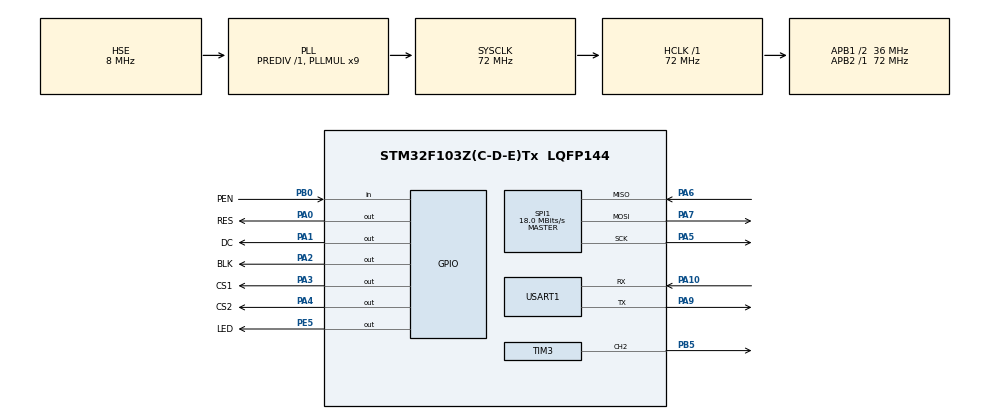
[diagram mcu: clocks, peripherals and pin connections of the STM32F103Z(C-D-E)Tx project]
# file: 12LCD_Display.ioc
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Mcu.Family=STM32F1
Mcu.Name=STM32F103Z(C-D-E)Tx
Mcu.Package=LQFP144
NVIC.PriorityGroup=NVIC_PRIORITYGROUP_4
NVIC.TIM6_IRQn=true\:0\:0\:false\:false\:true\:true\:true\:true
OSC_IN.Mode=HSE-External-Oscillator
OSC_IN.Signal=RCC_OSC_IN
OSC_OUT.Mode=HSE-External-Oscillator
OSC_OUT.Signal=RCC_OSC_OUT
PA0-WKUP.GPIO_Label=RES
PA0-WKUP.GPIO_PuPd=GPIO_PULLUP
PA0-WKUP.PinState=GPIO_PIN_SET
PA0-WKUP.Signal=GPIO_Output
PA1.GPIO_Label=DC
PA1.GPIO_PuPd=GPIO_PULLUP
PA1.PinState=GPIO_PIN_SET
PA1.Signal=GPIO_Output
PA10.Mode=Asynchronous
PA10.Signal=USART1_RX
PA13.Mode=Serial_Wire
PA13.Signal=SYS_JTMS-SWDIO
PA14.Mode=Serial_Wire
PA14.Signal=SYS_JTCK-SWCLK
PA2.GPIO_Label=BLK
PA2.GPIO_PuPd=GPIO_PULLUP
PA2.PinState=GPIO_PIN_SET
PA2.Signal=GPIO_Output
PA3.GPIO_Label=CS1
PA3.GPIO_PuPd=GPIO_PULLUP
PA3.PinState=GPIO_PIN_SET
PA3.Signal=GPIO_Output
PA4.GPIO_Label=CS2
PA4.GPIO_PuPd=GPIO_PULLUP
PA4.PinState=GPIO_PIN_SET
PA4.Signal=GPIO_Output
PA5.Mode=Full_Duplex_Master
PA5.Signal=SPI1_SCK
PA6.Mode=Full_Duplex_Master
PA6.Signal=SPI1_MISO
PA7.Mode=Full_Duplex_Master
PA7.Signal=SPI1_MOSI
PA9.Mode=Asynchronous
PA9.Signal=USART1_TX
PB0.GPIO_Label=PEN
PB0.GPIO_PuPd=GPIO_PULLUP
PB0.Signal=GPIO_Input
PB5.Signal=S_TIM3_CH2
PC14-OSC32_IN.Mode=LSE-External-Oscillator
PC14-OSC32_IN.Signal=RCC_OSC32_IN
PC15-OSC32_OUT.Mode=LSE-External-Oscillator
PC15-OSC32_OUT.Signal=RCC_OSC32_OUT
PE5.GPIO_Label=LED
PE5.GPIO_PuPd=GPIO_PULLUP
PE5.PinState=GPIO_PIN_SET
PE5.Signal=GPIO_Output
ProjectManager.HeapSize=0x200
ProjectManager.StackSize=0x700
ProjectManager.TargetToolchain=MDK-ARM V5.32
RCC.AHBFreq_Value=72000000
RCC.APB1CLKDivider=RCC_HCLK_DIV2
RCC.APB1Freq_Value=36000000
RCC.APB1TimFreq_Value=72000000
RCC.APB2Freq_Value=72000000
RCC.APB2TimFreq_Value=72000000
RCC.HCLKFreq_Value=72000000
RCC.PLLMUL=RCC_PLL_MUL9
RCC.PLLSourceVirtual=RCC_PLLSOURCE_HSE
RCC.RTCClockSelection=RCC_RTCCLKSOURCE_LSE
RCC.SYSCLKFreq_VALUE=72000000
RCC.SYSCLKSource=RCC_SYSCLKSOURCE_PLLCLK
RCC.USBFreq_Value=72000000
RTC.Date=22
RTC.Format=RTC_FORMAT_BIN
RTC.Hours=14
RTC.Minutes=22
RTC.Month=RTC_MONTH_MARCH
RTC.Seconds=16
RTC.Year=25
SH.S_TIM3_CH2.0=TIM3_CH2,PWM Generation2 CH2
SPI1.BaudRatePrescaler=SPI_BAUDRATEPRESCALER_4
SPI1.CalculateBaudRate=18.0 MBits/s
SPI1.Direction=SPI_DIRECTION_2LINES
SPI1.Mode=SPI_MODE_MASTER
SPI1.VirtualType=VM_MASTER
TIM1.Prescaler=72-1
TIM3.AutoReloadPreload=TIM_AUTORELOAD_PRELOAD_ENABLE
TIM3.Channel-PWM\ Generation2\ CH2=TIM_CHANNEL_2
TIM3.Period=100-1
TIM3.Prescaler=7200-1
TIM6.AutoReloadPreload=TIM_AUTORELOAD_PRELOAD_ENABLE
TIM6.Period=999
TIM6.Prescaler=71
USART1.VirtualMode=VM_ASYNC
VP_RTC_VS_RTC_Activate.Mode=RTC_Enabled
VP_RTC_VS_RTC_Calendar.Mode=RTC_Calendar
VP_TIM1_VS_ClockSourceINT.Mode=Internal
VP_TIM3_VS_ClockSourceINT.Mode=Internal
VP_TIM6_VS_ClockSourceINT.Mode=Enable_Timer
board=custom

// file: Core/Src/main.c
/* USER CODE BEGIN Header */
/**
  ******************************************************************************
  * @file           : main.c
  * @brief          : Main program body
  ******************************************************************************
  * @attention
  *
  * Copyright (c) 2024 STMicroelectronics.
  * All rights reserved.
  *
  * This software is licensed under terms that can be found in the LICENSE file
  * in the root directory of this software component.
  * If no LICENSE file comes with this software, it is provided AS-IS.
  *
  ******************************************************************************
  */
/* USER CODE END Header */
#include "main.h"
#include "rtc.h"
#include "spi.h"
#include "tim.h"
#include "usart.h"
#include "gpio.h"

/* USER CODE BEGIN Includes */
#include "lcd_init.h"
#include "lcd.h"
#include "pic.h"
#include "touch.h"
#include "lvgl.h"
#include "lv_port_disp_template.h"
#include "lv_port_indev_template.h"
#include "lv_demo_stress.h"
#include "lv_demo_widgets.h"
#include "ui.h"
#include "dht11.h"
#include <stdio.h>
/* USER CODE END Includes */

/* USER CODE BEGIN PD */
#define COLOR_RED   0xff,0x0,0x0
#define COLOR_WHITE   0xff,0xff,0xff
#define COLOR_YELLOW   0xff,0xff,0x0
/* USER CODE END PD */

/* USER CODE BEGIN PV */
lv_color_t color_value;
uint32_t time_count = 0;
uint32_t needle_angle = 0;
RTC_TimeTypeDef struct_rtc_time;
RTC_DateTypeDef struct_rtc_date;
uint8_t time_buff[15] = {0};
uint8_t date_buff[15] = {0};
uint32_t timetick = 0;
uint32_t lvtick = 0;
/* USER CODE END PV */

void SystemClock_Config(void);

int main(void)
{

  /* MCU Configuration--------------------------------------------------------*/

  /* Reset of all peripherals, Initializes the Flash interface and the Systick. */
  HAL_Init();

  /* Configure the system clock */
  SystemClock_Config();

  /* Initialize all configured peripherals */
  MX_GPIO_Init();
  MX_SPI1_Init();
  MX_USART1_UART_Init();
  MX_TIM6_Init();
  MX_TIM3_Init();
  MX_TIM1_Init();
  MX_RTC_Init();
  /* USER CODE BEGIN 2 */
	HAL_TIM_Base_Start_IT(&htim6);
	HAL_TIM_PWM_Start(&htim3, TIM_CHANNEL_2);
	lv_init();
	lv_port_disp_init();
	lv_port_indev_init();
	//lv_demo_widgets();
	ui_init();
	//lv_demo_stress();

  /* USER CODE END 2 */

  /* Infinite loop */
  /* USER CODE BEGIN WHILE */
  while (1)
  {

		if(HAL_GetTick() - lvtick > 5)
		{
			lvtick = HAL_GetTick();
			lv_timer_handler();
			time_count++;
			time_count = time_count %400;
		}

		if(1 == time_count)
		{
			color_value = lv_color_make(COLOR_RED);
			lv_obj_set_style_img_recolor(ui_ImageLight, color_value, 0);
			lv_obj_set_style_img_recolor_opa(ui_ImageLight, 255, 0);

			lv_obj_set_style_img_recolor(ui_ImageTurnlight, color_value, 0);
			lv_obj_set_style_img_recolor_opa(ui_ImageTurnlight, 255, 0);

			lv_obj_set_style_img_recolor(ui_ImageWatertemp, color_value, 0);
			lv_obj_set_style_img_recolor_opa(ui_ImageWatertemp, 255, 0);

			lv_obj_set_style_img_recolor(ui_ImageSfatyBelt, color_value, 0);
			lv_obj_set_style_img_recolor_opa(ui_ImageSfatyBelt, 255, 0);

		}
		if(201 == time_count)
		{
			color_value = lv_color_make(COLOR_WHITE);
			lv_obj_set_style_img_recolor(ui_ImageLight, color_value, 0);
			lv_obj_set_style_img_recolor_opa(ui_ImageLight, 255, 0);

			lv_obj_set_style_img_recolor(ui_ImageTurnlight, color_value, 0);
			lv_obj_set_style_img_recolor_opa(ui_ImageTurnlight, 255, 0);

			lv_obj_set_style_img_recolor(ui_ImageWatertemp, color_value, 0);
			lv_obj_set_style_img_recolor_opa(ui_ImageWatertemp, 255, 0);

			lv_obj_set_style_img_recolor(ui_ImageSfatyBelt, color_value, 0);
			lv_obj_set_style_img_recolor_opa(ui_ImageSfatyBelt, 255, 0);
		}

		if(HAL_GetTick() - timetick >500)
		{
			timetick = HAL_GetTick();

			needle_angle = needle_angle + 10;
			needle_angle = needle_angle%250;
			lv_img_set_angle(ui_ImageNeedle, needle_angle*10);

			HAL_RTC_GetTime(&hrtc, &struct_rtc_time, RTC_FORMAT_BIN);
			sprintf((char *)(time_buff),"%2u:%2u:%2u", struct_rtc_time.Hours, struct_rtc_time.Minutes, struct_rtc_time.Seconds);
			lv_label_set_text(ui_LabelTime, (char *)time_buff);

			HAL_RTC_GetDate(&hrtc, &struct_rtc_date, RTC_FORMAT_BIN);
			sprintf((char *)date_buff,"20%2u-%2u-%2u", struct_rtc_date.Year, struct_rtc_date.Month, struct_rtc_date.Date);
			lv_label_set_text(ui_LabelDate, (char *)date_buff);
		}

    /* USER CODE END WHILE */

  }
}

void SystemClock_Config(void)
{
  RCC_OscInitTypeDef RCC_OscInitStruct = {0};
  RCC_ClkInitTypeDef RCC_ClkInitStruct = {0};
  RCC_PeriphCLKInitTypeDef PeriphClkInit = {0};

  /** Initializes the RCC Oscillators according to the specified parameters
  * in the RCC_OscInitTypeDef structure.
  */
  RCC_OscInitStruct.OscillatorType = RCC_OSCILLATORTYPE_HSE|RCC_OSCILLATORTYPE_LSE;
  RCC_OscInitStruct.HSEState = RCC_HSE_ON;
  RCC_OscInitStruct.HSEPredivValue = RCC_HSE_PREDIV_DIV1;
  RCC_OscInitStruct.LSEState = RCC_LSE_ON;
  RCC_OscInitStruct.HSIState = RCC_HSI_ON;
  RCC_OscInitStruct.PLL.PLLState = RCC_PLL_ON;
  RCC_OscInitStruct.PLL.PLLSource = RCC_PLLSOURCE_HSE;
  RCC_OscInitStruct.PLL.PLLMUL = RCC_PLL_MUL9;
  if (HAL_RCC_OscConfig(&RCC_OscInitStruct) != HAL_OK)
  {
    Error_Handler();
  }

  /** Initializes the CPU, AHB and APB buses clocks
  */
  RCC_ClkInitStruct.ClockType = RCC_CLOCKTYPE_HCLK|RCC_CLOCKTYPE_SYSCLK
                              |RCC_CLOCKTYPE_PCLK1|RCC_CLOCKTYPE_PCLK2;
  RCC_ClkInitStruct.SYSCLKSource = RCC_SYSCLKSOURCE_PLLCLK;
  RCC_ClkInitStruct.AHBCLKDivider = RCC_SYSCLK_DIV1;
  RCC_ClkInitStruct.APB1CLKDivider = RCC_HCLK_DIV2;
  RCC_ClkInitStruct.APB2CLKDivider = RCC_HCLK_DIV1;

  if (HAL_RCC_ClockConfig(&RCC_ClkInitStruct, FLASH_LATENCY_2) != HAL_OK)
  {
    Error_Handler();
  }
  PeriphClkInit.PeriphClockSelection = RCC_PERIPHCLK_RTC;
  PeriphClkInit.RTCClockSelection = RCC_RTCCLKSOURCE_LSE;
  if (HAL_RCCEx_PeriphCLKConfig(&PeriphClkInit) != HAL_OK)
  {
    Error_Handler();
  }
}

/* USER CODE BEGIN 4 */
void HAL_TIM_PeriodElapsedCallback(TIM_HandleTypeDef *htim)
{
	if (htim->Instance == TIM6)
	{
	 	lv_tick_inc(1);
	}

}
/* USER CODE END 4 */

void Error_Handler(void)
{
  __disable_irq();
  while (1)
  {
  }
}
